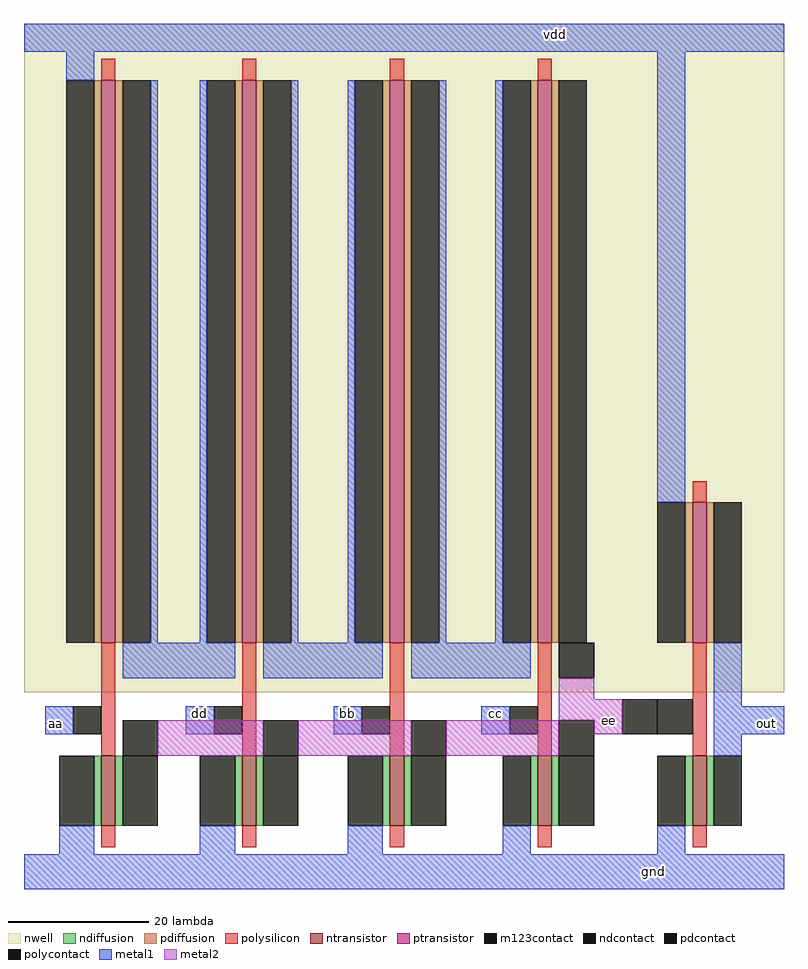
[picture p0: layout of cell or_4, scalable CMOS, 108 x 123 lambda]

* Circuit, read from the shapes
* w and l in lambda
.subckt or_4 aa bb cc dd ee gnd out vdd
M1 ee aa gnd VSUBS nfet w=10 l=2
M2 ee dd gnd VSUBS nfet w=10 l=2
M3 ee bb gnd VSUBS nfet w=10 l=2
M4 ee cc gnd VSUBS nfet w=10 l=2
M5 out ee gnd VSUBS nfet w=10 l=2
M6 n1 aa vdd n2 pfet w=80 l=2
M7 n3 dd n1 n2 pfet w=80 l=2
M8 n4 bb n3 n2 pfet w=80 l=2
M9 ee cc n4 n2 pfet w=80 l=2
M10 out ee vdd n2 pfet w=20 l=2
.ends

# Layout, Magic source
magic
tech scmos
<< nwell >>
rect -20 28 88 123
<< ntransistor >>
rect -9 9 -7 19
rect 11 9 13 19
rect 32 9 34 19
rect 53 9 55 19
rect 75 9 77 19
<< ptransistor >>
rect -9 35 -7 115
rect 11 35 13 115
rect 32 35 34 115
rect 53 35 55 115
rect 75 35 77 55
<< ndiffusion >>
rect -10 9 -9 19
rect -7 9 -6 19
rect 10 9 11 19
rect 13 9 14 19
rect 31 9 32 19
rect 34 9 35 19
rect 52 9 53 19
rect 55 9 56 19
rect 74 9 75 19
rect 77 9 78 19
<< pdiffusion >>
rect -10 35 -9 115
rect -7 35 -6 115
rect 10 35 11 115
rect 13 35 14 115
rect 31 35 32 115
rect 34 35 35 115
rect 52 35 53 115
rect 55 35 56 115
rect 74 35 75 55
rect 77 35 78 55
<< ndcontact >>
rect -15 9 -10 19
rect -6 9 -1 19
rect 5 9 10 19
rect 14 9 19 19
rect 26 9 31 19
rect 35 9 40 19
rect 48 9 52 19
rect 56 9 61 19
rect 70 9 74 19
rect 78 9 82 19
<< pdcontact >>
rect -14 35 -10 115
rect -6 35 -2 115
rect 6 35 10 115
rect 14 35 18 115
rect 27 35 31 115
rect 35 35 39 115
rect 48 35 52 115
rect 56 35 60 115
rect 70 35 74 55
rect 78 35 82 55
<< polysilicon >>
rect -9 115 -7 118
rect 11 115 13 118
rect 32 115 34 118
rect 53 115 55 118
rect 75 55 77 58
rect -9 19 -7 35
rect 11 19 13 35
rect 32 19 34 35
rect 53 19 55 35
rect 75 19 77 35
rect -9 6 -7 9
rect 11 6 13 9
rect 32 6 34 9
rect 53 6 55 9
rect 75 6 77 9
<< polycontact >>
rect -13 22 -9 26
rect 7 22 11 26
rect 28 22 32 26
rect 49 22 53 26
rect 70 22 75 27
<< metal1 >>
rect -20 119 88 123
rect -14 115 -10 119
rect -2 35 -1 115
rect 5 35 6 115
rect -6 30 10 35
rect 18 35 19 115
rect 26 35 27 115
rect 14 30 31 35
rect 39 35 40 115
rect 47 35 48 115
rect 35 30 52 35
rect 70 55 74 119
rect -17 22 -13 26
rect 3 22 7 26
rect 24 22 28 26
rect 45 22 49 26
rect 78 26 82 35
rect 78 22 88 26
rect 78 19 82 22
rect -15 5 -10 9
rect 5 5 10 9
rect 26 5 31 9
rect 48 5 52 9
rect 70 5 74 9
rect -20 0 88 5
<< metal2 >>
rect 56 27 61 30
rect 56 24 65 27
rect -1 19 14 24
rect 19 19 35 24
rect 40 19 56 24
rect 61 22 65 24
<< m123contact >>
rect 56 30 61 35
rect -6 19 -1 24
rect 14 19 19 24
rect 35 19 40 24
rect 56 19 61 24
rect 65 22 70 27
<< labels >>
rlabel metal1 85 23 86 24 7 out
rlabel metal1 69 2 70 3 1 gnd
rlabel metal1 47 25 47 25 1 cc
rlabel metal2 63 24 63 24 1 ee
rlabel metal1 26 25 26 25 1 bb
rlabel metal1 55 121 56 122 5 vdd
rlabel metal1 -16 23 -15 24 3 aa
rlabel metal1 5 25 5 25 1 dd
<< end >>
